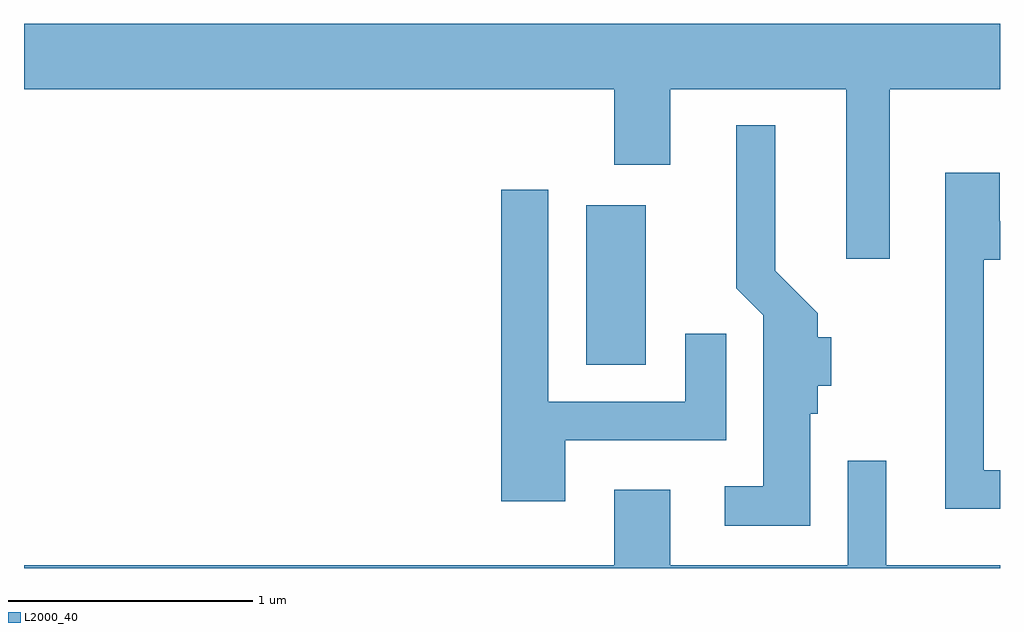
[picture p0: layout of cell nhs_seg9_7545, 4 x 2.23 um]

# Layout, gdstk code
import gdstk
lib = gdstk.Library(unit=1e-6, precision=1e-09)
def R(c, l, rs):  # rectangles x0, y0, x1, y1
    for r in rs: c.add(gdstk.rectangle(r[:2], r[2:], *l))
def P(c, l, *ps):  # polygons
    for p in ps: c.add(gdstk.Polygon(p, *l))
L2000_40 = (2000, 40)

nhs_seg9_7545 = lib.new_cell('nhs_seg9_7545')
R(nhs_seg9_7545, L2000_40, [(409.916,2077.266,410.159,2077.919)])
P(nhs_seg9_7545, L2000_40, [(411.159,2078.396),(411.611,2078.396),(411.611,2078.664),(407.611,2078.664),(407.611,2078.396),(410.031,2078.396),(410.031,2078.086),(410.259,2078.086),(410.259,2078.396),(410.981,2078.396),(410.981,2077.701),(411.159,2077.701)],
  [(410.834,2077.066),(410.864,2077.066),(410.864,2077.181),(410.919,2077.181),(410.919,2077.379),(410.864,2077.379),(410.864,2077.477),(410.689,2077.652),(410.689,2078.248),(410.531,2078.248),(410.531,2077.579),(410.641,2077.469),(410.641,2076.769),(410.483,2076.769),(410.483,2076.606),(410.834,2076.606)],
  [(411.611,2076.834),(411.544,2076.834),(411.544,2077.696),(411.611,2077.696),(411.611,2077.854),(411.609,2077.854),(411.609,2078.054),(411.386,2078.054),(411.386,2076.676),(411.611,2076.676)],
  [(409.829,2076.956),(410.489,2076.956),(410.489,2077.393),(410.321,2077.393),(410.321,2077.114),(409.759,2077.114),(409.759,2077.984),(409.566,2077.984),(409.566,2076.706),(409.829,2076.706)],
  [(411.611,2076.444),(411.144,2076.444),(411.144,2076.873),(410.986,2076.873),(410.986,2076.444),(410.259,2076.444),(410.259,2076.754),(410.031,2076.754),(410.031,2076.444),(407.611,2076.444),(407.611,2076.432),(411.611,2076.432)])

lib.write_gds('nhs_seg9_7545.gds')
